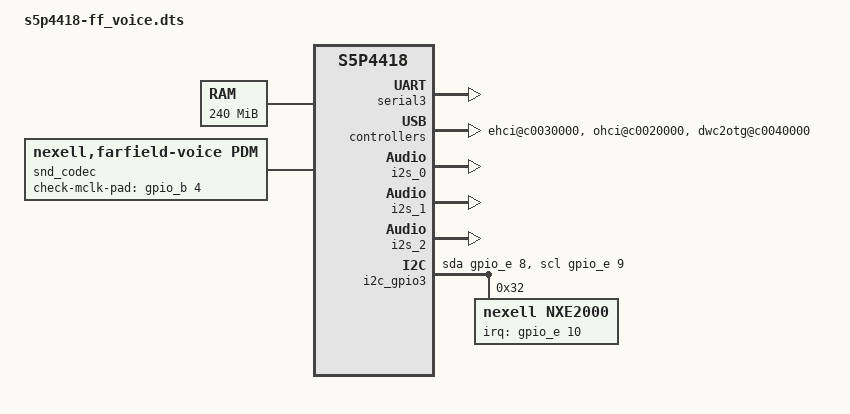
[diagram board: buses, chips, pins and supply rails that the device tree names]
/*
 * Copyright (C) 2016  Nexell Co., Ltd.
 * Author: Youngbok, Park <ybpark@nexell.co.kr>
 *
 * This program is free software; you can redistribute it and/or
 * modify it under the terms of the GNU General Public License
 * as published by the Free Software Foundation; either version 2
 * of the License, or (at your option) any later version.
 *
 * This program is distributed in the hope that it will be useful,
 * but WITHOUT ANY WARRANTY; without even the implied warranty of
 * MERCHANTABILITY or FITNESS FOR A PARTICULAR PURPOSE.  See the
 * GNU General Public License for more details.
 *
 * You should have received a copy of the GNU General Public License
 * along with this program.  If not, see <http://www.gnu.org/licenses/>.
 */

/dts-v1/;
#include <dt-bindings/interrupt-controller/irq.h>
#include <dt-bindings/gpio/gpio.h>
#include <dt-bindings/input/input.h>
#include "nxp4330.dtsi"

#define PMIC_PDATA_INIT(_id, _rname, _minuv,			\
			_maxuv, _init_uv, _init_enable,		\
			_set_init_uV, _slp_slots)		\
			regulator-name = _rname;		\
			regulator-min-microvolt = <_minuv>;	\
			regulator-max-microvolt = <_maxuv>;	\
			nx,id = <_id>;				\
			nx,init_enable = <_init_enable>;	\
			nx,init_uV = <_init_uv>;		\
			nx,set_init_uV = <_set_init_uV>;	\
			nx,sleep_slots = <_slp_slots>;

/ {
	memory {
		device_type = "memory";
		reg = <0xA1000000 0xF000000>;
	};

	psci {
		compatible = "arm,psci-0.2";
		method = "smc";
	};

	soc {
		#include "s5p4418-pinctrl.dtsi"
		clocks {
			uart3:uart@c00ab000 { clock-frequency = <147500000>; };
			/* Fix */
			i2s1:i2s@c00b3000 {
				clk-input = <I_PLL2>;
			};

			/* Fix */
			i2s2:i2s@c00b4000 {
				clk-input = <I_PLL2>;
			};
		};

		l2:l2-cache-controller@cf000000 {
			arm,prefetch-offset = <7>;
			prefetch-data = <1>;
			prefetch-instr = <1>;
			arm,tag-latency = <3 4 3>;
			arm,data-latency = <3 4 3>;
		};

		serial3:serial@c00a3000 {
                        status ="okay";
                };

		amba {
			pl08xdma0:pl08xdma@c0000000 {
				use_isr;
				ch12 {	/* I2S0 TX */
					slave_wait_flush_dma;
				};
				ch13 {	/* I2S0 RX */
					slave_wait_flush_dma;
				};
				ch14 {	/* I2S1 TX */
					slave_wait_flush_dma;
				};
				ch15 {	/* I2S1 RX */
					slave_wait_flush_dma;
				};
			};

			pl08xdma1:pl08xdma@c0001000 {
				use_isr;
				ch0 {	/* I2S2 TX */
					slave_wait_flush_dma;
				};
				ch1 {	/* I2S2 RX */
					slave_wait_flush_dma;
				};
			};
		};

		ehci@c0030000 {
			status = "okay";
			port@0 {
				status = "okay";
			};
		};

		ohci@c0020000 {
			status = "okay";
			port@0 {
				status = "okay";
			};
		};

		nexell_usbphy: nexell-usbphy@c0012000 {
			status = "okay";
		};

		dwc2otg@c0040000 {
			status = "okay";
		};

		/* reference: slave, 32bit */
		i2s_0:i2s@c0055000 {
			#sound-dai-cells = <1>;
			pre-supply-mclk = <0>;	/* Must be 0 */
			master-mode = <0>;	/* Slave */
			trans-mode = <0>; 	/* 1 : Left Jusified */
			frame-bit = <32>;
			sample-rate = <48000>;
			status = "okay";
		};

		/* mic 0 : master, 32bit, PLL <->EXTMCLK */
		i2s_1:i2s@c0056000 {
			#sound-dai-cells = <1>;
			pre-supply-mclk = <0>;	/* Must be 0 */
			master-mode = <1>;	/* Master */
			mclk-in = <1>;
			trans-mode = <1>;	/* 1 : Left Jusified */
			frame-bit = <32>;
			sample-rate = <48000>;
			status = "okay";
		};

		/* mic 1 : master, 32bit, PLL <->EXTMCLK */
		i2s_2:i2s@c0057000 {
			#sound-dai-cells = <1>;
			pre-supply-mclk = <0>;	/* Must be 0 */
			master-mode = <1>;	/* Master */
			mclk-in = <1>;
			trans-mode = <1>;	/* 1 : Left Jusified */
			frame-bit = <32>;
			sample-rate = <48000>;
			status = "okay";
		};


		i2c_gpio3: i2c@3 {
			compatible = "i2c-gpio";
			gpios = <&gpio_e 8 0		/* SDA */
				&gpio_e 9 0		/* SCL */
				>;
			#address-cells = <1>;
			#size-cells = <0>;
			status = "okay";

			nxe2000@32 {
				compatible = "nexell,nxe2000";
				reg = <0x32>;
				interrupt-parent = <&gpio_e>;
				interrupts = <10 IRQ_TYPE_EDGE_FALLING>;


				regulators {
					VCC_DCDC0:
						dcdc1	{ PMIC_PDATA_INIT( 0,
							"nxe2000_dcdc1",
							900000, 1500000,
							1100000, 1, 0, 0x4)
							regulator-always-on;
							regulator-boot-on;};
					VCC_DCDC1:
						dcdc2	{ PMIC_PDATA_INIT( 1,
							"nxe2000_dcdc2",
							1000000, 1500000,
							1200000, 1, 0, 0x4)
							regulator-always-on;
							regulator-boot-on;};
					VCC_DCDC2:
						dcdc3	{ PMIC_PDATA_INIT( 2,
							"nxe2000_dcdc3",
							1000000, 3500000,
							3300000, 1, 1, 0x0)
							regulator-always-on;
							regulator-boot-on;};
					VCC_DCDC3:
						dcdc4	{ PMIC_PDATA_INIT( 3,
							"nxe2000_dcdc4",
							1000000, 2000000,
							1500000, 1, 0, 0xF)
							regulator-always-on;
							regulator-boot-on;};
					VCC_DCDC4:
						dcdc5	{ PMIC_PDATA_INIT( 4,
							"nxe2000_dcdc5",
							1000000, 2000000,
							1500000, 1, 0, 0x4)
							regulator-always-on;
							regulator-boot-on;};
					VCC_LDO0:
						ldo1	{ PMIC_PDATA_INIT( 5,
							"nxe2000_ldo1",
							1000000, 3500000,
							3300000, 0, 1, 0x0)
							regulator-boot-on;};
					VCC_LDO1:
						ldo2	{ PMIC_PDATA_INIT( 6,
							"nxe2000_ldo2",
							1000000, 3500000,
							3300000, 0, 1, 0x0)
							regulator-boot-on;};
					VCC_LDO2:
						ldo3	{ PMIC_PDATA_INIT( 7,
							"nxe2000_ldo3",
							1000000, 3500000,
							1800000, 1, 1, 0x2)
							regulator-always-on;
							regulator-boot-on;};
					VCC_LDO3:
						ldo4	{ PMIC_PDATA_INIT( 8,
							"nxe2000_ldo4",
							1000000, 3500000,
							1800000, 1, 1, 0x2)
							regulator-always-on;
							regulator-boot-on;};
					VCC_LDO4:
						ldo5	{ PMIC_PDATA_INIT( 9,
							"nxe2000_ldo5",
							1000000, 3500000,
							3300000, 0, 1, 0x0)
							regulator-boot-on;};
					VCC_LDO5:
						ldo6	{ PMIC_PDATA_INIT(10,
							"nxe2000_ldo6",
							1000000, 3500000,
							3300000, 1, 1, 0xF)
							regulator-always-on;
							regulator-boot-on;};
					VCC_LDO6:
						ldo7	{ PMIC_PDATA_INIT(11,
							"nxe2000_ldo7",
							1000000, 3500000,
							3300000, 0, 1, 0x1)
							regulator-always-on;
							regulator-boot-on;};
					VCC_LDO7:
						ldo8	{ PMIC_PDATA_INIT(12,
							"nxe2000_ldo8",
							1000000, 3500000,
							3300000, 0, 1, 0x0)
							regulator-boot-on;};
					VCC_LDO8:
						ldo9	{ PMIC_PDATA_INIT(13,
							"nxe2000_ldo9",
							1000000, 3500000,
							1800000, 0, 1, 0x0)
							regulator-boot-on;};
					VCC_LDO9:
						ldo10	{ PMIC_PDATA_INIT(14,
							"nxe2000_ldo10",
							1000000, 3500000,
							1200000, 1, 1, 0x0)
							regulator-always-on;
							regulator-boot-on;};
					VCC_RTC0:
						ldortc1	{ PMIC_PDATA_INIT(15,
							"nxe2000_rtc1",
							1700000, 3500000,
							1800000, 1, 1, 0xF)
							regulator-always-on;
							regulator-boot-on;};
					VCC_RTC1:
						ldortc2	{ PMIC_PDATA_INIT(16,
							"nxe2000_rtc2",
							1000000, 3500000,
							1000000, 1, 1, 0xF)
							regulator-always-on;
							regulator-boot-on;};
				}; /* regulators */
			}; /* nxe2000@32 */
		}; /* i2c_gpio3 */
	}; /*** soc ***/


	snd_pcm:snd_ffv_pcm@1 {
		#sound-dai-cells = <0>;
		compatible = "nexell,snd-pcm-farfield-voice";
		status = "okay";
	};

	snd_codec: snd_ffv_codec@0 {
		#sound-dai-cells = <0>;
		compatible = "nexell,farfield-voice,pdm";
		#address-cells = <1>;
		#size-cells = <0>;

		check-mclk-ext = <1>;
		check-mclk-pad = <&gpio_b 4 0>;	/* ref lrck */

		ref {
			sound-dev = <&i2s_0 0>;

		};

		mic {
			ch@0 {
				sound-dev = <&i2s_1 0>;
				switch-clkgen = < 4 1 7 1>;
			};
			ch@1 {
				sound-dev = <&i2s_2 0>;
				switch-clkgen = < 4 1 7 1>;
			};
		};
	};

	sound {
		compatible = "nexell,simple-audio-card";
		simple-audio-card,name = "s5p4418 Audio";

		simple-audio-card,dai-link@0 {
			format = "i2s";
			cpu {
				sound-dai = <&i2s_0 0>;
			};
			plat {
				sound-dai = <&snd_pcm>;
			};
			codec {
				sound-dai = <&snd_codec>;
			};
		};

		simple-audio-card,dai-link@1 {
			format = "i2s";
			cpu {
				sound-dai = <&i2s_1 0>;
			};
			codec {
				sound-dai = <&snd_codec>;
			};
		};

		simple-audio-card,dai-link@2 {
			format = "i2s";
			cpu {
				sound-dai = <&i2s_2 0>;
			};
			codec {
				sound-dai = <&snd_codec>;
			};
		};
	};

};




